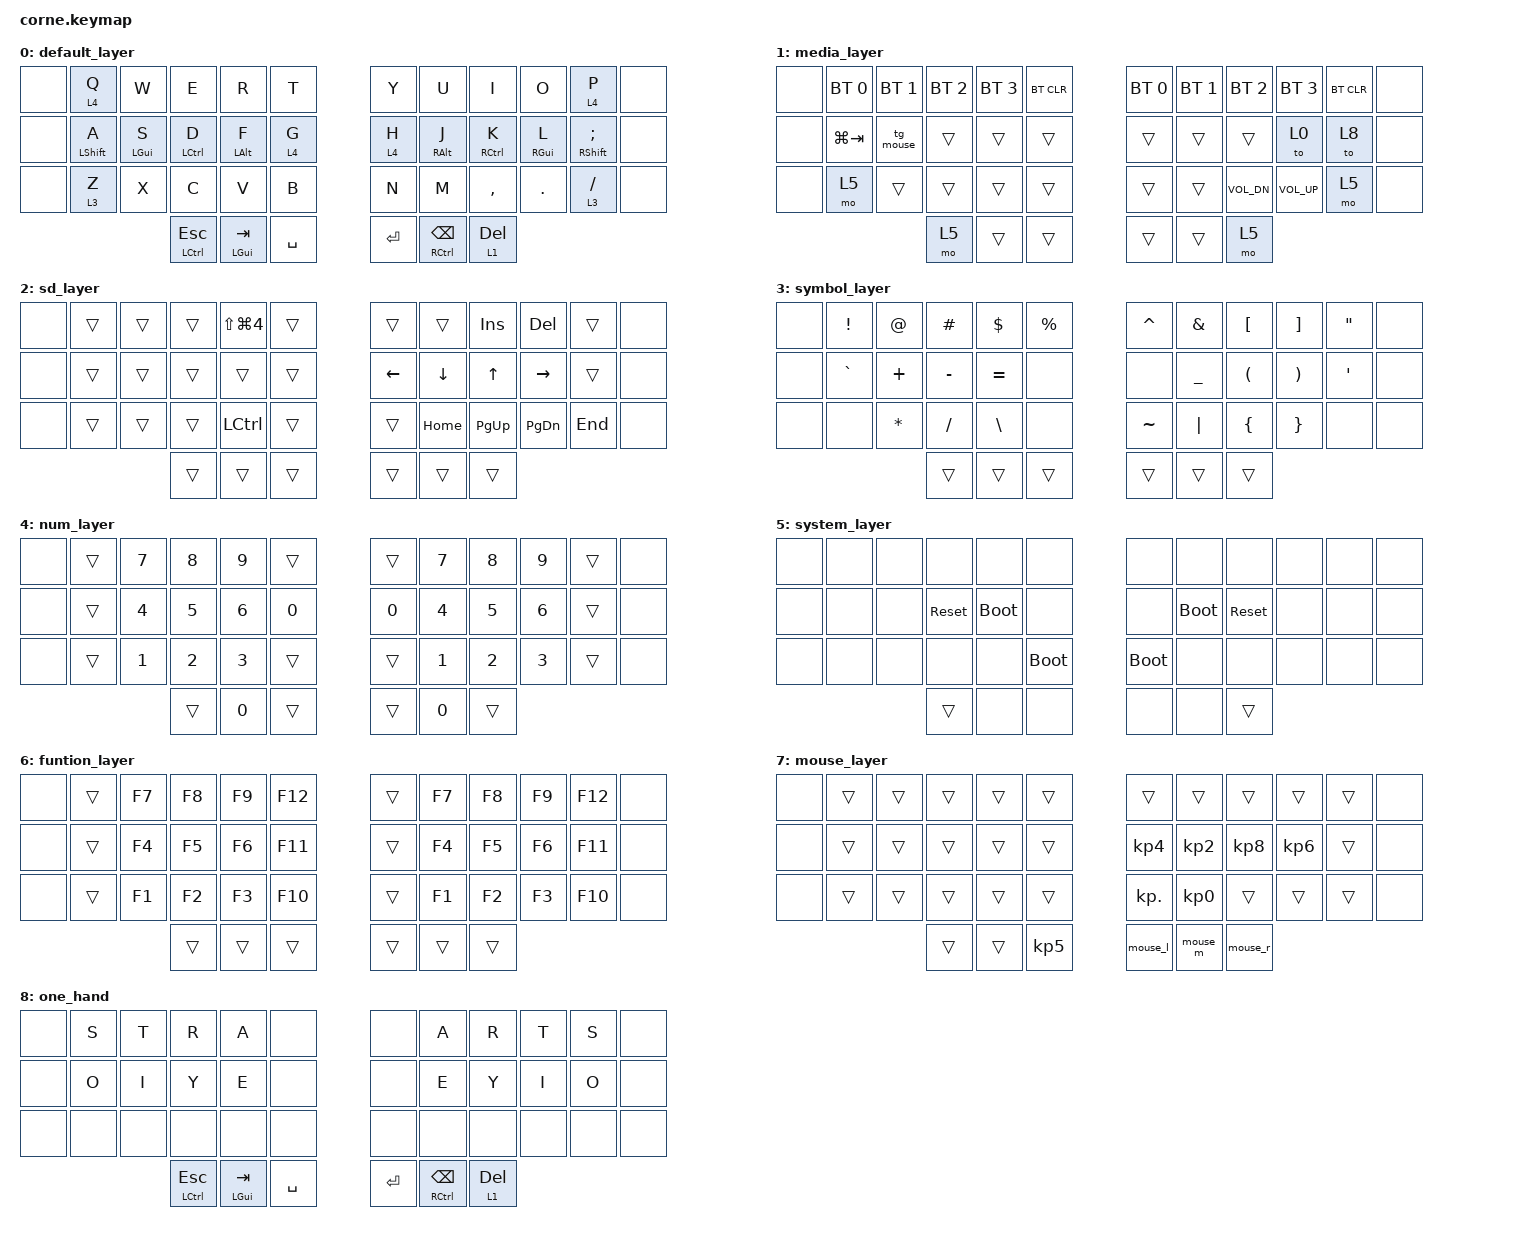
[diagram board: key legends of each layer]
#include <behaviors.dtsi>
#include <dt-bindings/zmk/keys.h>
#include <dt-bindings/zmk/bt.h>

#define XXX &none
#define ___ &trans
#define _X &none
#define X_ &none

/ {
  behaviors {
    bhm: balanced_homerow_mods {
      compatible = "zmk,behavior-hold-tap";
      label = "HOMEROW_MODS";
      #binding-cells = <2>;
      tapping-term-ms = <200>;    // <---[[moderate duration]]
      quick-tap-ms = <200>;
      flavor = "balanced";
      bindings = <&kp>, <&kp>;
    }; 

    bspc_del: backspace_delete {
      compatible = "zmk,behavior-mod-morph";
      label = "BACKSPACE_DELETE";
      #binding-cells = <0>;
      bindings = <&kp BACKSPACE>, <&kp DELETE>;
      mods = <(MOD_LSFT|MOD_RSFT)>;
    };
  };

  combos {
    #include "combos.dtsi"
  };

  macros {
    mouse_l: mouse_l {
      label = "mouse_l";
      compatible = "zmk,behavior-macro";
      #binding-cells = <0>;
      bindings = <&kp KP_N5>;
    };

    mouse_m: mouse_m {
      label = "mouse_m";
      compatible = "zmk,behavior-macro";
      #binding-cells = <0>;
      wait-ms = <0>;
      bindings = <&kp KP_MINUS>;
    };

    mouse_r: mouse_r {
      label = "mouse_r";
      compatible = "zmk,behavior-macro";
      #binding-cells = <0>;
      wait-ms = <0>;
      bindings = <&kp KP_ASTERISK>;
    };

    tg_mouse: tg_mouse {
      label = "tg_mouse";
      compatible = "zmk,behavior-macro";
      #binding-cells = <0>;
      bindings = <&kp LALT &kp LALT &kp LALT &kp LALT &kp LALT>;
    };
  };

  keymap {
    compatible = "zmk,keymap";

    // 0 default
    default_layer {
      bindings = <
      // ╭─────────────┬─────────────┬─────────────┬─────────────┬─────────────╮   ╭─────────────┬─────────────┬─────────────┬─────────────┬─────────────╮
      _X      &lt 4 Q       &kp W          &kp E        &kp R         &kp T             &kp Y         &kp U         &kp I          &kp O       &lt 4 P     X_
      // ├─────────────┼─────────────┼─────────────┼─────────────┼─────────────┤   ├─────────────┼─────────────┼─────────────┼─────────────┼─────────────┤
      _X   &bhm LSHFT A  &bhm LGUI S   &bhm LCTRL D  &bhm LALT F     &lt 4 G           &lt 4 H     &bhm RALT J   &bhm RCTRL K  &bhm RGUI L &bhm RSHFT SEMI X_
      // ├─────────────┼─────────────┼─────────────┼─────────────┼─────────────┤   ├─────────────┼─────────────┼─────────────┼─────────────┼─────────────┤
      _X     &lt 3 Z       &kp X          &kp C         &kp V         &kp B             &kp N         &kp M        &kp COMMA    &kp DOT       &lt 3 FSLH   X_
      // ╰─────────────┴─────────────┼─────────────┼─────────────┼─────────────┤   ├─────────────┼─────────────┼─────────────┼─────────────┴─────────────╯
                                      &mt LCTRL ESC  &mt LGUI TAB   &kp SPACE          &kp RET &mt RCTRL BACKSPACE  &lt 1 DELETE
      //                             ╰─────────────┴─────────────┴─────────────╯   ╰─────────────┴─────────────┴─────────────╯
      >;
    };

    // 1 media
    media_layer {
      bindings = <
      // ╭─────────────┬─────────────┬─────────────┬─────────────┬─────────────╮   ╭─────────────┬─────────────┬─────────────┬─────────────┬─────────────╮
      _X  &bt BT_SEL 0   &bt BT_SEL 1  &bt BT_SEL 2  &bt BT_SEL 3   &bt BT_CLR      &bt BT_SEL 0   &bt BT_SEL 1  &bt BT_SEL 2  &bt BT_SEL 3   &bt BT_CLR   X_ 
      // ├─────────────┼─────────────┼─────────────┼─────────────┼─────────────┤   ├─────────────┼─────────────┼─────────────┼─────────────┼─────────────┤
      _X   &kp LG(TAB)    &tg_mouse        ___           ___           ___               ___           ___           ___           &to 0         &to 8     X_
      // ├─────────────┼─────────────┼─────────────┼─────────────┼─────────────┤   ├─────────────┼─────────────┼─────────────┼─────────────┼─────────────┤
      _X     &mo 5           ___           ___           ___           ___               ___           ___      &kp C_VOL_DN   &kp C_VOL_UP     &mo 5      X_
      // ╰─────────────┴─────────────┼─────────────┼─────────────┼─────────────┤   ├─────────────┼─────────────┼─────────────┼─────────────┴─────────────╯
                                          &mo 5          ___           ___               ___           ___          &mo 5 
      //                             ╰─────────────┴─────────────┴─────────────╯   ╰─────────────┴─────────────┴─────────────╯
      >;
    };

    // 2 
    sd_layer {
      bindings = <
      // ╭─────────────┬─────────────┬─────────────┬─────────────┬─────────────╮   ╭─────────────┬─────────────┬─────────────┬─────────────┬─────────────╮
      _X       ___           ___           ___      &kp LS(LG(N4))     ___               ___           ___         &kp INS       &kp DEL         ___       X_
      // ├─────────────┼─────────────┼─────────────┼─────────────┼─────────────┤   ├─────────────┼─────────────┼─────────────┼─────────────┼─────────────┤
      _X       ___           ___           ___           ___           ___             &kp LEFT      &kp DOWN      &kp UP        &kp RIGHT       ___       X_
      // ├─────────────┼─────────────┼─────────────┼─────────────┼─────────────┤   ├─────────────┼─────────────┼─────────────┼─────────────┼─────────────┤
      _X       ___           ___           ___        &kp LCTRL        ___               ___         &kp HOME     &kp PG_UP     &kp PG_DN      &kp END     X_
      // ╰─────────────┴─────────────┼─────────────┼─────────────┼─────────────┤   ├─────────────┼─────────────┼─────────────┼─────────────┴─────────────╯
                                           ___           ___           ___               ___           ___           ___
      //                             ╰─────────────┴─────────────┴─────────────╯   ╰─────────────┴─────────────┴─────────────╯
      >;
    };

    // 3
    symbol_layer {

    /*                KEY POSITIONS
      ╭────────────────────╮ ╭────────────────────╮
      │  !   @  "#"  $   % │ │  ^   &   [   ]   " │
      │  `   +   -   =     │ │      _   (   )   ' │
      │      *   /   \     │ │  ~   |   {   }     │
      ╰───────────╮        │ │        ╭───────────╯
                  ╰────────╯ ╰────────╯            */
      bindings = <
      // ╭─────────────┬─────────────┬─────────────┬─────────────┬─────────────╮   ╭─────────────┬─────────────┬─────────────┬─────────────┬─────────────╮
      _X     &kp EXCL       &kp AT      &kp HASH       &kp DLLR     &kp PRCNT         &kp CARET      &kp AMPS      &kp LBKT      &kp RBKT      &kp DQT     X_ 
      // ├─────────────┼─────────────┼─────────────┼─────────────┼─────────────┤   ├─────────────┼─────────────┼─────────────┼─────────────┼─────────────┤
      _X    &kp GRAVE      &kp PLUS     &kp MINUS      &kp EQUAL       XXX               XXX         &kp UNDER     &kp LPAR      &kp RPAR      &kp SQT     X_ 
      // ├─────────────┼─────────────┼─────────────┼─────────────┼─────────────┤   ├─────────────┼─────────────┼─────────────┼─────────────┼─────────────┤
      _X       XXX         &kp STAR     &kp SLASH      &kp BSLH        XXX            &kp TILDE      &kp PIPE      &kp LBRC      &kp RBRC       XXX        X_ 
      // ╰─────────────┴─────────────┼─────────────┼─────────────┼─────────────┤   ├─────────────┼─────────────┼─────────────┼─────────────┴─────────────╯
                                           ___           ___           ___               ___           ___           ___
      //                             ╰─────────────┴─────────────┴─────────────╯   ╰─────────────┴─────────────┴─────────────╯
      >;
    };

    // 4
    num_layer {

    /*                KEY POSITIONS
      ╭────────────────────╮ ╭────────────────────╮
      │      7   8   9     │ │      7   8   9     │
      │      4   5   6     │ │      4   5   6     │
      │      1   2   3     │ │      1   2   3     │
      ╰───────────╮        │ │        ╭───────────╯
                  ╰────────╯ ╰────────╯            */
      bindings = <
      // ╭─────────────┬─────────────┬─────────────┬─────────────┬─────────────╮   ╭─────────────┬─────────────┬─────────────┬─────────────┬─────────────╮
      _X       ___          &kp N7        &kp N8        &kp N9         ___               ___          &kp N7       &kp N8         &kp N9         ___       X_
      // ├─────────────┼─────────────┼─────────────┼─────────────┼─────────────┤   ├─────────────┼─────────────┼─────────────┼─────────────┼─────────────┤
      _X       ___          &kp N4        &kp N5        &kp N6       &kp N0            &kp N0         &kp N4       &kp N5         &kp N6         ___       X_ 
      // ├─────────────┼─────────────┼─────────────┼─────────────┼─────────────┤   ├─────────────┼─────────────┼─────────────┼─────────────┼─────────────┤
      _X       ___          &kp N1        &kp N2        &kp N3         ___               ___          &kp N1       &kp N2         &kp N3         ___       X_ 
      // ╰─────────────┴─────────────┼─────────────┼─────────────┼─────────────┤   ├─────────────┼─────────────┼─────────────┼─────────────┴─────────────╯
                                           ___          &kp N0         ___               ___          &kp N0         ___
      //                             ╰─────────────┴─────────────┴─────────────╯   ╰─────────────┴─────────────┴─────────────╯
      >;
    };

    // 5
    system_layer {
      bindings = <
      // ╭─────────────┬─────────────┬─────────────┬─────────────┬─────────────╮   ╭─────────────┬─────────────┬─────────────┬─────────────┬─────────────╮
      _X       XXX           XXX           XXX           XXX           XXX               XXX           XXX           XXX           XXX           XXX       X_
      // ├─────────────┼─────────────┼─────────────┼─────────────┼─────────────┤   ├─────────────┼─────────────┼─────────────┼─────────────┼─────────────┤
      _X       XXX           XXX        &sys_reset   &bootloader       XXX               XXX       &bootloader    &sys_reset       XXX           XXX       X_
      // ├─────────────┼─────────────┼─────────────┼─────────────┼─────────────┤   ├─────────────┼─────────────┼─────────────┼─────────────┼─────────────┤
      _X       XXX           XXX           XXX           XXX       &bootloader       &bootloader       XXX           XXX           XXX           XXX       X_
      // ╰─────────────┴─────────────┼─────────────┼─────────────┼─────────────┤   ├─────────────┼─────────────┼─────────────┼─────────────┴─────────────╯
                                           ___           XXX           XXX               XXX           XXX           ___
      //                             ╰─────────────┴─────────────┴─────────────╯   ╰─────────────┴─────────────┴─────────────╯
      >;
    };

    // 6
    funtion_layer {
      bindings = <
      // ╭─────────────┬─────────────┬─────────────┬─────────────┬─────────────╮   ╭─────────────┬─────────────┬─────────────┬─────────────┬─────────────╮
      _X       ___          &kp F7       &kp F8         &kp F9       &kp F12             ___          &kp F7       &kp F8         &kp F9       &kp F12     X_
      // ├─────────────┼─────────────┼─────────────┼─────────────┼─────────────┤   ├─────────────┼─────────────┼─────────────┼─────────────┼─────────────┤
      _X       ___          &kp F4       &kp F5         &kp F6       &kp F11             ___          &kp F4       &kp F5         &kp F6       &kp F11     X_ 
      // ├─────────────┼─────────────┼─────────────┼─────────────┼─────────────┤   ├─────────────┼─────────────┼─────────────┼─────────────┼─────────────┤
      _X       ___          &kp F1       &kp F2         &kp F3       &kp F10             ___          &kp F1       &kp F2         &kp F3       &kp F10     X_ 
      // ╰─────────────┴─────────────┼─────────────┼─────────────┼─────────────┤   ├─────────────┼─────────────┼─────────────┼─────────────┴─────────────╯
                                           ___           ___           ___               ___           ___           ___
      //                             ╰─────────────┴─────────────┴─────────────╯   ╰─────────────┴─────────────┴─────────────╯
      >;
    };

    // 7
    mouse_layer {
      bindings = <
      // ╭─────────────┬─────────────┬─────────────┬─────────────┬─────────────╮   ╭─────────────┬─────────────┬─────────────┬─────────────┬─────────────╮
      _X       ___           ___           ___           ___           ___               ___           ___           ___           ___           ___       X_
      // ├─────────────┼─────────────┼─────────────┼─────────────┼─────────────┤   ├─────────────┼─────────────┼─────────────┼─────────────┼─────────────┤
      _X       ___           ___           ___           ___           ___            &kp KP_N4     &kp KP_N2     &kp KP_N8     &kp KP_N6        ___       X_
      // ├─────────────┼─────────────┼─────────────┼─────────────┼─────────────┤   ├─────────────┼─────────────┼─────────────┼─────────────┼─────────────┤
      _X       ___           ___           ___           ___           ___            &kp KP_DOT    &kp KP_N0        ___           ___           ___       X_
      // ╰─────────────┴─────────────┼─────────────┼─────────────┼─────────────┤   ├─────────────┼─────────────┼─────────────┼─────────────┴─────────────╯
                                           ___           ___        &kp KP_N5          &mouse_l     &mouse_m      &mouse_r
      //                             ╰─────────────┴─────────────┴─────────────╯   ╰─────────────┴─────────────┴─────────────╯
      >;
    };

    // 8
    one_hand {
      bindings = <
      // ╭─────────────┬─────────────┬─────────────┬─────────────┬─────────────╮   ╭─────────────┬─────────────┬─────────────┬─────────────┬─────────────╮
      _X      &kp S         &kp T         &kp R        &kp A           XXX               XXX          &kp A         &kp R          &kp T        &kp S      X_
      // ├─────────────┼─────────────┼─────────────┼─────────────┼─────────────┤   ├─────────────┼─────────────┼─────────────┼─────────────┼─────────────┤
      _X      &kp O         &kp I         &kp Y        &kp E           XXX               XXX          &kp E         &kp Y          &kp I        &kp O      X_
      // ├─────────────┼─────────────┼─────────────┼─────────────┼─────────────┤   ├─────────────┼─────────────┼─────────────┼─────────────┼─────────────┤
      _X       XXX           XXX           XXX           XXX           XXX               XXX           XXX           XXX           XXX           XXX       X_
      // ╰─────────────┴─────────────┼─────────────┼─────────────┼─────────────┤   ├─────────────┼─────────────┼─────────────┼─────────────┴─────────────╯
                                     &mt LCTRL ESC  &mt LGUI TAB   &kp SPACE          &kp RET &mt RCTRL BACKSPACE  &lt 1 DELETE
      //                             ╰─────────────┴─────────────┴─────────────╯   ╰─────────────┴─────────────┴─────────────╯
      >;
    };

  };
};
